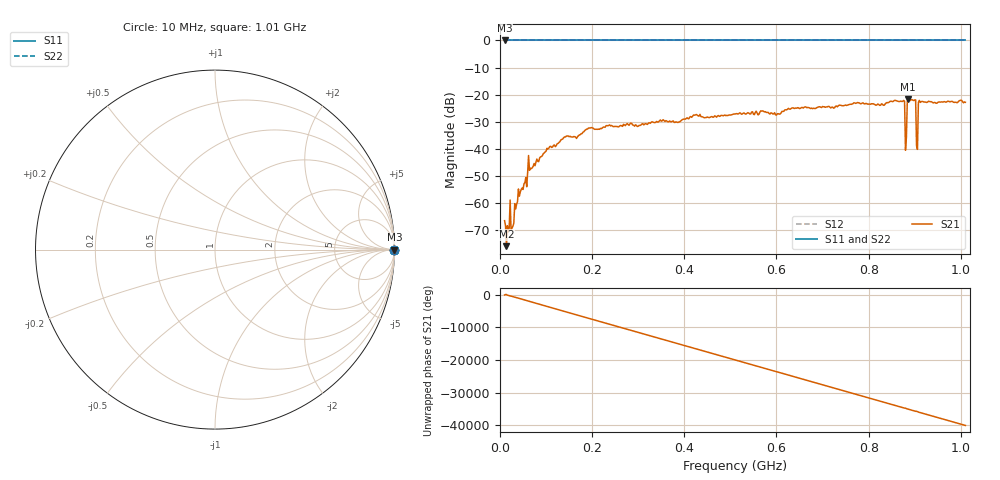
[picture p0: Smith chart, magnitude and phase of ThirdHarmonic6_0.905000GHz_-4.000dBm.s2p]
! 8/16/2025 5:39:00 AM
! C:\ANRITSUVNA\TEMP\TEMP.S2P
! CHANNEL.1
! TR.MEASUREMENT
! RAW.DATA
! RF.CORRECTION.OFF
! AVERAGING.OFF
! IF.BANDWIDTH: 5KHZ
! SWEEPTYPE:  FREQ.SWEEP(Linear)
! Reference Plane Port Info
! PORT:  PORT1  PORT2
! DISTANCE:  0  m  0  m
! TIME:  0  s  0  s
! PHASE.OFFSET:  0  deg.  0  deg.
! LOSS:  0  dB  0  dB
! REF.LOSS:  0  dB  0  dB
! REF.FREQ:  0  Hz  0  Hz
! Power Info
! POWER:  -20  dBm  -20  dBm
! EFF.POWER:  -20  dBm  -20  dBm
! SOURCE.ATTEN:  0  dB  0  dB
! TEST.ATTEN:  0  dB  0  dB
# GHZ S RI R 50.0
! FREQ.GHZ  S11RE  S11IM  S21RE  S21IM  S12RE  S12IM  S22RE  S22IM
!; PortSelection: Port_12
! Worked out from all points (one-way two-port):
!   501 points, 10 MHz to 1.01 GHz, reference 50 ohm
!   highest |S21| = -21.72 dB at 886 MHz (marker M1); lowest = -76.0 dB at 14 MHz (marker M2)
!   lowest |S11| = 0.0 dB at 10 MHz (marker M3)
!   |S11| at or under -10 dB: nowhere
!   |S22| runs from 0.0 to 0.0 dB; largest |S21 - S12| = 1.1
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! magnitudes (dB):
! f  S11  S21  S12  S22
! 10 MHz  0.0  -66.6  0.0  0.0
! 14 MHz  0.0  -76.0  0.0  0.0
! 28 MHz  0.0  -68.6  0.0  0.0
! 36 MHz  0.0  -60.5  0.0  0.0
! 54 MHz  0.0  -52.5  0.0  0.0
! 64 MHz  0.0  -48.0  0.0  0.0
! 142 MHz  0.0  -35.7  0.0  0.0
! 178 MHz  0.0  -34.4  0.0  0.0
! 344 MHz  0.0  -30.1  0.0  0.0
! 510 MHz  0.0  -27.2  0.0  0.0
! 678 MHz  0.0  -25.2  0.0  0.0
! 844 MHz  0.0  -22.9  0.0  0.0
! 874 MHz  0.0  -22.5  0.0  0.0
! 878 MHz  0.0  -22.5  0.0  0.0
! 884 MHz  0.0  -21.9  0.0  0.0
! 886 MHz  0.0  -21.7  0.0  0.0
! 888 MHz  0.0  -22.0  0.0  0.0
! 898 MHz  0.0  -22.2  0.0  0.0
! 902 MHz  0.0  -22.0  0.0  0.0
! 908 MHz  0.0  -22.9  0.0  0.0
! 912 MHz  0.0  -22.9  0.0  0.0
! 1.01 GHz  0.0  -22.8  0.0  0.0
